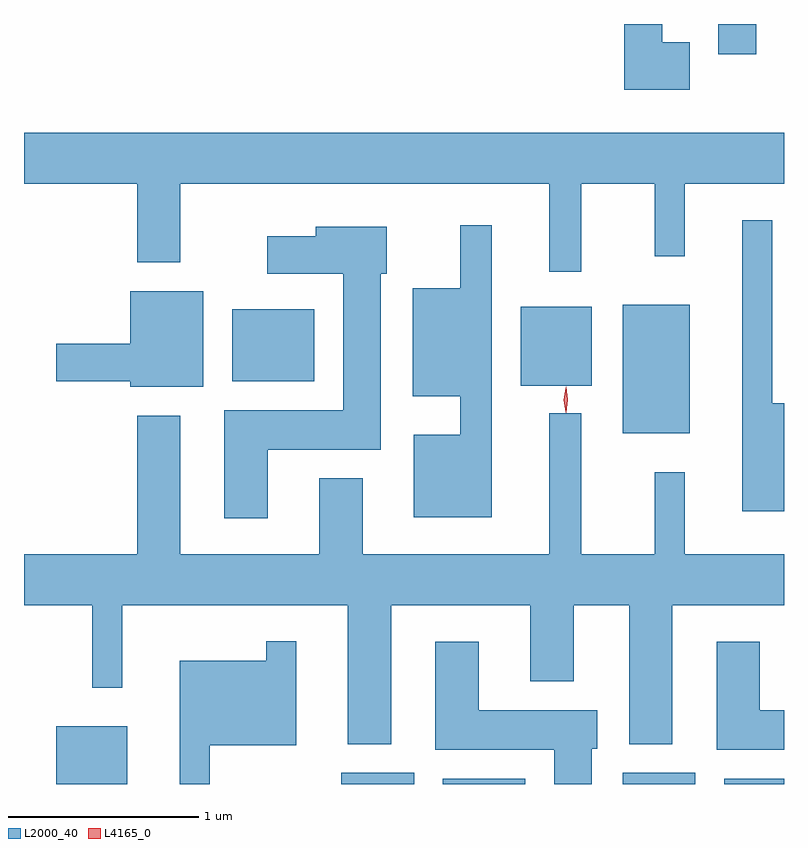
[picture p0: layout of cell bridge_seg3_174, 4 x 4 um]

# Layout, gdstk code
import gdstk
lib = gdstk.Library(unit=1e-6, precision=1e-09)
def R(c, l, rs):  # rectangles x0, y0, x1, y1
    for r in rs: c.add(gdstk.rectangle(r[:2], r[2:], *l))
def P(c, l, *ps):  # polygons
    for p in ps: c.add(gdstk.Polygon(p, *l))
L2000_40 = (2000, 40)
L4165_0 = (4165, 0)

bridge_seg3_174 = lib.new_cell('bridge_seg3_174')
R(bridge_seg3_174, L2000_40, [(869.796,1140.616,870.169,1140.919), (871.296,1140.616,871.679,1140.674), (871.831,1140.616,872.264,1140.644), (872.776,1140.616,873.159,1140.674), (873.311,1140.616,873.626,1140.644), (872.776,1142.461,873.129,1143.139), (872.241,1142.711,872.614,1143.129), (870.721,1142.736,871.154,1143.114), (873.281,1144.456,873.479,1144.616)])
P(bridge_seg3_174, L2000_40, [(873.129,1144.519),(872.984,1144.519),(872.984,1144.616),(872.786,1144.616),(872.786,1144.271),(873.129,1144.271)],
  [(872.559,1143.776),(872.946,1143.776),(872.946,1143.393),(873.104,1143.393),(873.104,1143.776),(873.626,1143.776),(873.626,1144.044),(869.626,1144.044),(869.626,1143.776),(870.221,1143.776),(870.221,1143.361),(870.449,1143.361),(870.449,1143.776),(872.391,1143.776),(872.391,1143.313),(872.559,1143.313)],
  [(873.626,1142.619),(873.564,1142.619),(873.564,1143.583),(873.406,1143.583),(873.406,1142.051),(873.626,1142.051)],
  [(872.089,1143.558),(871.921,1143.558),(871.921,1143.224),(871.671,1143.224),(871.671,1142.656),(871.921,1142.656),(871.921,1142.454),(871.676,1142.454),(871.676,1142.021),(872.089,1142.021)],
  [(870.909,1142.376),(871.504,1142.376),(871.504,1143.301),(871.534,1143.301),(871.534,1143.549),(871.161,1143.549),(871.161,1143.499),(870.906,1143.499),(870.906,1143.301),(871.306,1143.301),(871.306,1142.584),(870.681,1142.584),(870.681,1142.016),(870.909,1142.016)],
  [(870.569,1143.209),(870.186,1143.209),(870.186,1142.934),(869.796,1142.934),(869.796,1142.736),(870.186,1142.736),(870.186,1142.706),(870.569,1142.706)],
  [(871.559,1141.556),(872.291,1141.556),(872.291,1141.156),(872.519,1141.156),(872.519,1141.556),(872.811,1141.556),(872.811,1140.826),(873.039,1140.826),(873.039,1141.556),(873.626,1141.556),(873.626,1141.824),(873.104,1141.824),(873.104,1142.258),(872.946,1142.258),(872.946,1141.824),(872.559,1141.824),(872.559,1142.568),(872.391,1142.568),(872.391,1141.824),(871.409,1141.824),(871.409,1142.224),(871.181,1142.224),(871.181,1141.824),(870.449,1141.824),(870.449,1142.554),(870.221,1142.554),(870.221,1141.824),(869.626,1141.824),(869.626,1141.556),(869.986,1141.556),(869.986,1141.123),(870.144,1141.123),(870.144,1141.556),(871.331,1141.556),(871.331,1140.826),(871.559,1140.826)],
  [(870.604,1140.821),(871.059,1140.821),(871.059,1141.368),(870.901,1141.368),(870.901,1141.264),(870.446,1141.264),(870.446,1140.616),(870.604,1140.616)],
  [(872.614,1140.801),(872.644,1140.801),(872.644,1141.004),(872.019,1141.004),(872.019,1141.364),(871.791,1141.364),(871.791,1140.796),(872.416,1140.796),(872.416,1140.616),(872.614,1140.616)],
  [(873.626,1141.004),(873.499,1141.004),(873.499,1141.364),(873.271,1141.364),(873.271,1140.796),(873.626,1140.796)])
P(bridge_seg3_174, L4165_0, [(872.479,1142.569),(872.479,1142.57),(872.47,1142.638),(872.479,1142.706),(872.48,1142.706),(872.48,1142.706),(872.489,1142.638),(872.48,1142.57)],
  [(872.477,1142.572),(872.477,1142.573),(872.467,1142.637),(872.477,1142.702),(872.477,1142.702),(872.478,1142.702),(872.487,1142.637),(872.478,1142.573)])

lib.write_gds('bridge_seg3_174.gds')
